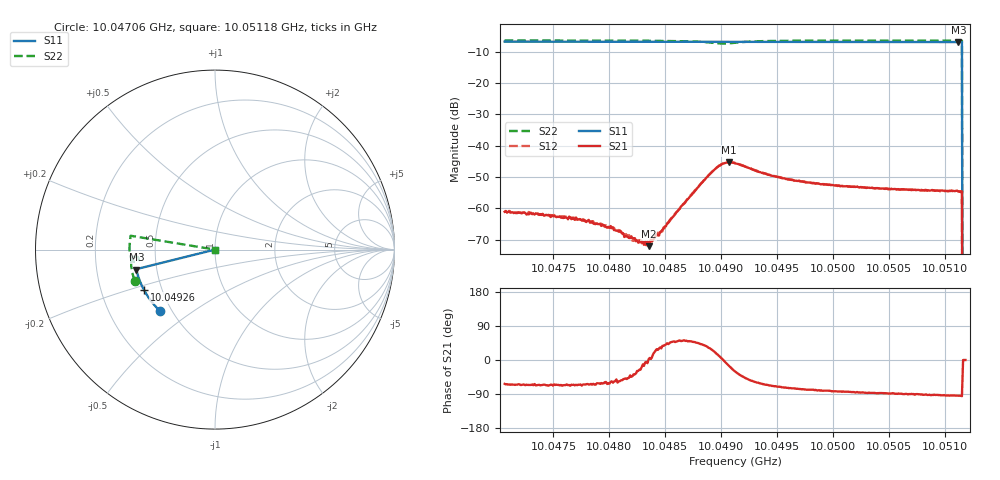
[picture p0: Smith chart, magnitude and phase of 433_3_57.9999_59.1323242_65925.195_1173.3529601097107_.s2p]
#  HZ  S  RI  R  50.00
! Rohde & Schwarz Vector Network Analyzer
! Rohde-Schwarz,ZNB20-2Port,1311601062101988,3.16
! Created: UTC 3/21/2024, 1:09:45 AM
! freq[Hz]  re:S11  im:S11  re:S21  im:S21  re:S12  im:S12  re:S22  im:S22
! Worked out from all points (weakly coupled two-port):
!   401 points, 10.04706 GHz to 10.05118 GHz, reference 50 ohm
!   highest |S21| = -45.33 dB at 10.04907 GHz (marker M1); lowest = -72.1 dB at 10.04835 GHz (marker M2)
!   lowest |S11| = -6.9 dB at 10.05112 GHz (marker M3), VSWR 2.65, Z = 19.1 - j5.33 ohm
!   |S11| at or under -10 dB: 10.05115 GHz to end of sweep
!   |S22| runs from - to -6.4 dB; largest |S21 - S12| = 0.00039
!   S11 on the Smith chart (normalised r, x): 10.04706 GHz: 0.43, -0.37; 10.04926 GHz: 0.40, -0.23; 10.05118 GHz: 1.00, +0.00
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1.0047063e10  -0.3092 -0.3397  0.000401 -0.000784  0.00044 -0.0008  -0.446 -0.1761
1.0047362e10  -0.3231 -0.3256  0.000339 -0.000754  0.000387 -0.000716  -0.4528 -0.157
1.0047753e10  -0.3403 -0.3064  0.000247 -0.000593  0.000325 -0.000555  -0.4598 -0.1308
1.0048021e10  -0.3514 -0.2927  0.000267 -0.0004  0.000288 -0.000412  -0.464 -0.112
1.0048103e10  -0.3548 -0.2884  0.000248 -0.000339  0.000272 -0.000333  -0.4649 -0.1059
1.0048154e10  -0.3569 -0.2858  0.000228 -0.000275  0.000257 -0.000276  -0.4656 -0.1023
1.0048216e10  -0.3592 -0.2824  0.000265 -0.000205  0.000243 -0.000178  -0.466 -0.0977
1.0048329e10  -0.3636 -0.2765  0.000256 -2.13e-05  0.000276 -6.01e-05  -0.4669 -0.0887
1.004835e10  -0.3644 -0.2752  0.000248 7.95e-06  0.000285 1.91e-05  -0.4671 -0.0869
1.0048442e10  -0.3679 -0.2703  0.000318 0.000183  0.000333 0.000183  -0.4671 -0.0793
1.004872e10  -0.3779 -0.2549  0.00101 0.00118  0.000968 0.00125  -0.4617 -0.0527
1.0048906e10  -0.3841 -0.2445  0.00319 0.00177  0.0031 0.00197  -0.4408 -0.0382
1.0048988e10  -0.3866 -0.2399  0.00481 0.000717  0.00476 0.00101  -0.4273 -0.0453
1.004907e10  -0.3892 -0.2355  0.00519 -0.00153  0.0053 -0.00121  -0.4272 -0.0621
1.0049122e10  -0.3909 -0.2327  0.00452 -0.00263  0.00477 -0.00235  -0.4351 -0.0685
1.0049256e10  -0.3954 -0.2251  0.00259 -0.00347  0.00285 -0.00332  -0.4557 -0.065
1.0049441e10  -0.4011 -0.2143  0.00129 -0.00309  0.0015 -0.00304  -0.4684 -0.0477
1.0049811e10  -0.4113 -0.1922  0.000503 -0.00247  0.000631 -0.00246  -0.4753 -0.0163
1.0050501e10  -0.4276 -0.1499  5.4e-05 -0.00204  0.000167 -0.00203  -0.4752 0.0333
1.0051118e10  -0.4383 -0.111  -0.000133 -0.00185  -3.28e-05 -0.00186  -0.4703 0.075
1.0051129e10  -0.4386 -0.1103  -0.000142 -0.00183  -2.19e-05 -0.00187  -0.4702 0.0757
1.005118e10  0 0  0 0  0 0  0 0
